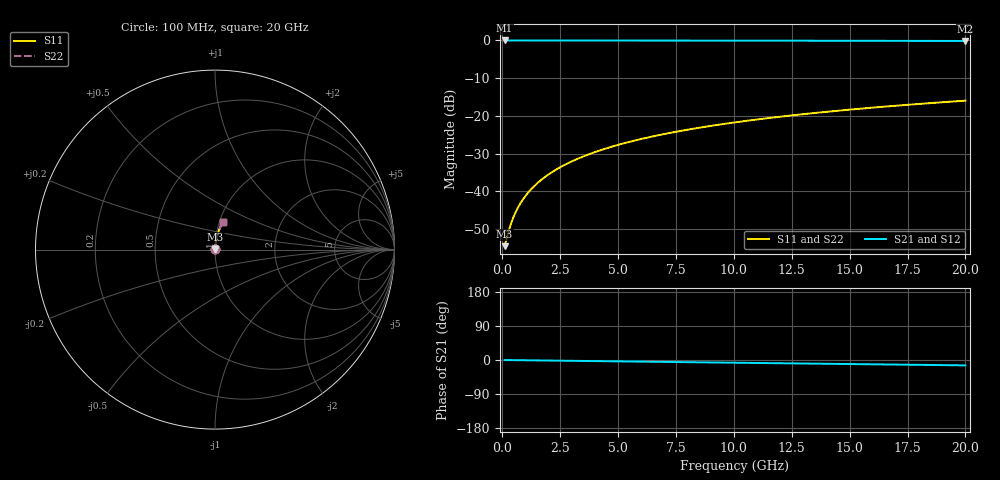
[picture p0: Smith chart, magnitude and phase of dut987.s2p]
! Touchstone file exported from HFSS 2026.1.0
!  File:  C:/ffzhzh/LocalFiles/Ansys_Project_Files/temp_train_BSMRDL_987_1783172877_22436.aedt
!  Generated:  09:49:10 PM Jul  4, 2026
!  Design:  BSMRDL
!  Project:  temp_train_BSMRDL_987_1783172877_22436
! Variables:
!  h_bsmrdl = 2.45um
!  h_ox = 20um
!  h_rdl = 5um
!  h_sub = 80um
!  h_tmrdl = 5um
!  h_tsv = 80um
!  h_via = 3um
!  l_bsmrdl = 159.6um
!  l_sub = 559.6um
!  l_tmrdl = 200um
!  m_sub = 200um
!  pitch = 41.62um
!  r_tsv = 6um
!  s_tmrdl = 10um
!  w_bsmrdl = 17.09um
!  w_sub = 500um
!  w_tmrdl = 12um
!  x_tsv_center1 = 206um
!  x_tsv_center2 = 382.69um
!  x_tsv_center3 = 594.69um
!  x_tsv_center4 = 771.38um
!  x_tsv_center5 = 983.38um
!  x_tsv_center6 = 1160.07um
# GHz S MA R 50.000000
! Terminal data exported
! Port[1] = BSM_RDL1_1_T1
! Port[2] = BSM_RDL1_1_T2
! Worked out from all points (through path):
!   200 points, 100 MHz to 20 GHz, reference 50 ohm
!   highest |S21| = -0.01 dB at 100 MHz (marker M1); lowest = -0.2 dB at 20 GHz (marker M2)
!   group delay of S21, straight-line fit = 1.97 ps
!   lowest |S11| = -54.5 dB at 100 MHz (marker M3), VSWR 1.00, Z = 50.2 + j0.0889 ohm
!   |S11| at or under -10 dB: start of sweep to end of sweep
!   |S22| runs from -54.5 to -16.0 dB; largest |S21 - S12| = 2.7e-15
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0.1  0.001878 28.2  0.9983 -0.1  0.9983 -0.1  0.001878 28.2
! Gamma 0 0 0 0
! Port Impedance 50 0 50 0
0.3  0.003149 56.8  0.9983 -0.2  0.9983 -0.2  0.003149 56.8
0.4  0.003914 63.0  0.9982 -0.3  0.9982 -0.3  0.003914 63.0
0.5  0.0047 67.1  0.9982 -0.4  0.9982 -0.4  0.0047 67.1
0.6  0.005495 70.0  0.9981 -0.4  0.9981 -0.4  0.005495 70.0
0.7  0.006292 72.2  0.9981 -0.5  0.9981 -0.5  0.006292 72.2
0.9  0.007892 75.2  0.998 -0.7  0.998 -0.7  0.007892 75.2
1.2  0.0103 77.9  0.998 -0.9  0.998 -0.9  0.0103 77.9
1.4  0.01192 79.2  0.9979 -1.0  0.9979 -1.0  0.01192 79.2
1.7  0.01435 80.5  0.9978 -1.2  0.9978 -1.2  0.01435 80.5
2.2  0.01841 81.8  0.9977 -1.6  0.9977 -1.6  0.01841 81.8
2.8  0.02331 82.6  0.9976 -2.0  0.9976 -2.0  0.02331 82.6
3.5  0.02903 83.1  0.9973 -2.5  0.9973 -2.5  0.02903 83.1
4.2  0.03475 83.2  0.9971 -3.0  0.9971 -3.0  0.03475 83.2
5  0.04128 83.1  0.9968 -3.6  0.9968 -3.6  0.04128 83.1
5.9  0.04861 82.8  0.9963 -4.3  0.9963 -4.3  0.04861 82.8
6.8  0.05592 82.4  0.9958 -4.9  0.9958 -4.9  0.05592 82.4
8.3  0.06803 81.6  0.9948 -6.0  0.9948 -6.0  0.06803 81.6
10.1  0.08245 80.6  0.9935 -7.3  0.9935 -7.3  0.08245 80.6
13.4  0.1085 78.5  0.9904 -9.6  0.9904 -9.6  0.1085 78.5
16.7  0.1341 76.3  0.9868 -11.9  0.9868 -11.9  0.1341 76.3
20  0.1591 74.1  0.9826 -14.2  0.9826 -14.2  0.1591 74.1
